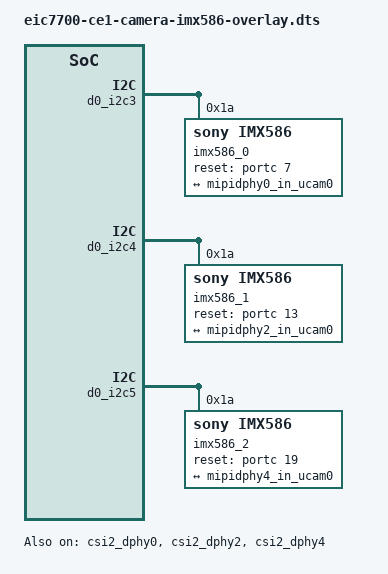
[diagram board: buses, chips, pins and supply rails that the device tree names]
/* SPDX-License-Identifier: GPL-2.0 */
/*
 * Copyright 2026, Beijing ESWIN Computing Technology Co., Ltd.. All rights reserved.
 *
 */

/dts-v1/;
/plugin/;

/ {
	fragment@0 {
		target = <&mipidphy0_in_ucam0>;
		__overlay__ {
			remote-endpoint = <&imx586_out0>;
			data-lanes = <1 2 3 4>;
		};
	};

	fragment@1 {
		target = <&mipidphy2_in_ucam0>;
		__overlay__ {
			remote-endpoint = <&imx586_out1>;
			data-lanes = <1 2 3 4>;
		};
	};

	fragment@2 {
		target = <&mipidphy4_in_ucam0>;
		__overlay__ {
			remote-endpoint = <&imx586_out2>;
			data-lanes = <1 2 3 4>;
		};
	};

	fragment@3 {
		target = <&csi2_dphy0>;
		__overlay__ {
			status = "okay";
		};
	};

	fragment@4 {
		target = <&csi2_dphy2>;
		__overlay__ {
			status = "okay";
		};
	};

	fragment@5 {
		target = <&csi2_dphy4>;
		__overlay__ {
			status = "okay";
		};
	};

	fragment@6 {
		target = <&d0_i2c3>;
		__overlay__ {
			#address-cells = <1>;
			#size-cells = <0>;
			imx586_0:imx586_0@1a {
				compatible = "sony,imx586";
				reg = <0x1a>;
				clock-names="xvclk";
				clocks = <&d0_clock 0x244>;
				assigned-clocks = <&d0_clock 0x244>;
				assigned-clock-rates = <24000000>;
				pinctrl-names = "default";
				pinctrl-0 = <&pinctrl_gpio71_default>;
				reset-gpio = <&portc 7 0>;
				power-domains = <&d0_pmu 2>;
				status = "okay";
				port {
					imx586_out0: endpoint {
						remote-endpoint = <&mipidphy0_in_ucam0>;
						data-lanes = <1 2 3 4>;
						link-frequencies = /bits/ 64 <625000000>;
					};
				};
			};
		};
	};

	fragment@7 {
		target = <&d0_i2c4>;
		__overlay__ {
			#address-cells = <1>;
			#size-cells = <0>;
			imx586_1:imx586_1@1a {
				compatible = "sony,imx586";
				reg = <0x1a>;
				clock-names="xvclk";
				clocks = <&d0_clock 0x244>;
				assigned-clocks = <&d0_clock 0x244>;
				assigned-clock-rates = <24000000>;
				pinctrl-names = "default";
				pinctrl-0 = <&pinctrl_gpio77_default>;
				reset-gpio = <&portc 13 0>;
				power-domains = <&d0_pmu 2>;
				status = "okay";
				port {
					imx586_out1: endpoint {
						remote-endpoint = <&mipidphy2_in_ucam0>;
						data-lanes = <1 2 3 4>;
						link-frequencies = /bits/ 64 <625000000>;
					};
				};
			};
		};
	};

	fragment@8 {
		target = <&d0_i2c5>;
		__overlay__ {
			#address-cells = <1>;
			#size-cells = <0>;
			imx586_2:imx586_2@1a {
				compatible = "sony,imx586";
				reg = <0x1a>;
				clock-names="xvclk";
				clocks = <&d0_clock 0x244>;
				assigned-clocks = <&d0_clock 0x244>;
				assigned-clock-rates = <24000000>;
				pinctrl-names = "default";
				pinctrl-0 = <&pinctrl_gpio83_default>;
				reset-gpio = <&portc 19 0>;
				power-domains = <&d0_pmu 2>;
				status = "okay";
				port {
					imx586_out2: endpoint {
						remote-endpoint = <&mipidphy4_in_ucam0>;
						data-lanes = <1 2 3 4>;
						link-frequencies = /bits/ 64 <625000000>;
					};
				};
			};
		};
	};

	fragment@18 {
		target = <&imx219_0>;
		__overlay__ {
			status="disabled";
		};
	};

	fragment@19 {
		target = <&imx219_1>;
		__overlay__ {
			status="disabled";
		};
	};

	fragment@20 {
		target = <&imx219_2>;
		__overlay__ {
			status="disabled";
		};
	};

	fragment@24 {
		target = <&vi_subsys>;
		__overlay__ {
			phy_mode = <2>;
		};
	};

};
